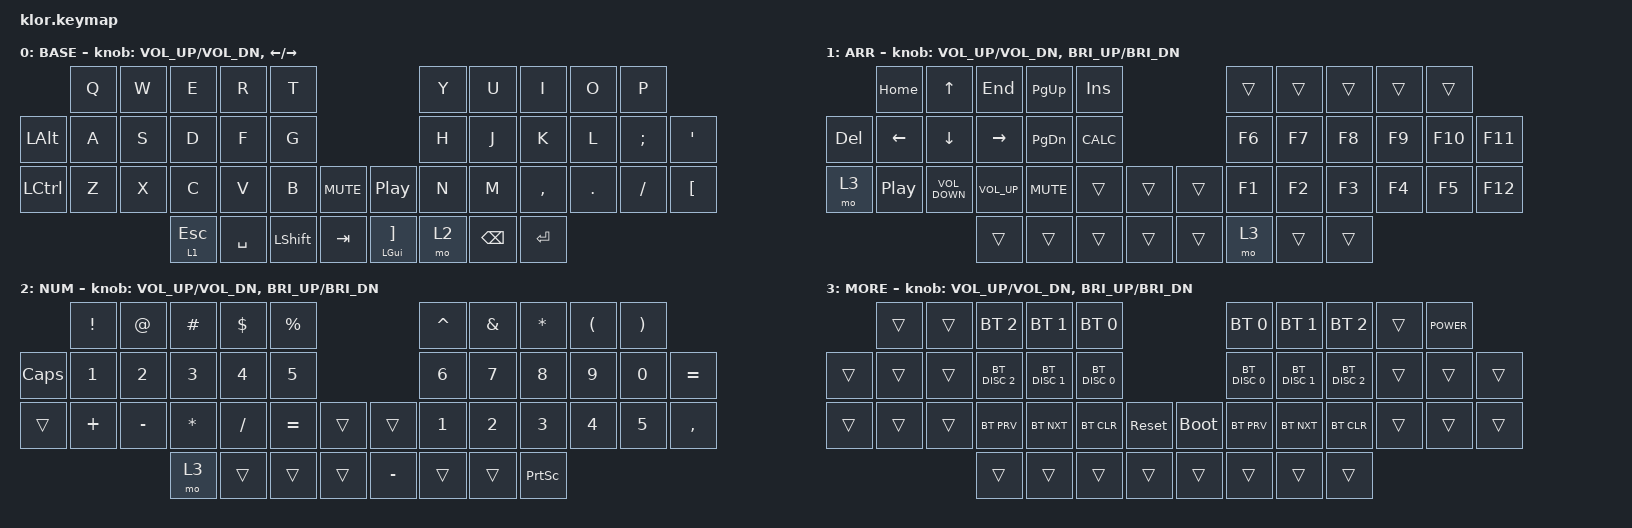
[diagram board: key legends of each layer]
#include <behaviors.dtsi>
#include <dt-bindings/zmk/bt.h>
#include <dt-bindings/zmk/keys.h>

&lt { quick-tap-ms = <0>; };

&mt { tapping-term-ms = <200>; };

// keep it high until you're familiar with keyboard to avoid misclicks
// later lower it to <= 200
// DO NOT MAKE LAYER LABELS LARGER

/ {
    combos {
        compatible = "zmk,combos";

        ctrl_alt_del {
            bindings = <&ctrl_alt_del>;
            key-positions = <2 3 4>;
        };

        play_pause {
            bindings = <&kp C_PLAY_PAUSE>;
            key-positions = <24 25>;
        };
    };

    macros {
        ctrl_alt_del: ctrl_alt_del {
            compatible = "zmk,behavior-macro";
            #binding-cells = <0>;
            bindings = <&kp LCTRL &kp LEFT_ALT &kp DEL>;
            label = "CTRL_ALT_DEL";
            wait-ms = <0>;
            tap-ms = <5>;
        };
    };

    keymap {
        compatible = "zmk,keymap";

        // ▄▄▄▄▄▄▄▄▄▄▄▄▄▄▄▄▄▄▄▄▄▄▄▄▄▄▄▄▄▄▄▄▄▄▄▄▄▄▄▄▄▄▄▄▄▄▄▄▄▄▄▄▄▄▄▄▄▄▄▄▄▄▄▄▄▄▄▄▄▄▄▄▄▄▄▄▄▄▄▄▄▄▄▄▄▄▄▄▄▄▄▄▄▄▄▄▄▄▄▄▄▄▄▄▄▄▄▄▄▄▄▄▄▄▄▄▄▄▄▄▄▄▄▄▄▄▄▄▄▄▄▄▄▄▄▄▄▄▄▄▄▄

        LA0 {
            // ┌───────────────────────────────────────────────────────────┐

            display-name = "BASE";

            // └───────────────────────────────────────────────────────────┘
            /*           ┌─────────┬─────────┬─────────┬─────────┬─────────┐                    ┌─────────┬─────────┬─────────┬─────────┬─────────┐
             │    Q    │    W    │    E    │    R    │    T    │                    │    Y    │    U    │    I    │    O    │    P    │   
   ┌─────────┼─────────┼─────────┼─────────┼─────────┼─────────┤                    ├─────────┼─────────┼─────────┼─────────┼─────────┼─────────┐
   │   TAB   │    A    │    S    │    D    │    F    │    G    │                    │    H    │    J    │    K    │    L    │    ;    │    "    │
   ├─────────┼─────────┼─────────┼─────────┼─────────┼─────────┤╭────────╮╭────────╮├─────────┼─────────┼─────────┼─────────┼─────────┼─────────┤
   │   DEL   │    Z    │    X    │    C    │    V    │    B    ││  MUTE  ││PLY/PSE ││    N    │    M    │    ,    │    .    │    /    │    \    │
   └─────────┴─────────┴─────────┼─────────┼─────────┼─────────┼╰────────╯╰────────╯┼─────────┼─────────┼─────────┼─────────┴─────────┴─────────┘
                                 │  CTRL   │  ALT    │  LOWER  │   SPACE ││ CMD/WIN │  ENTER  │  RAISE  │  BSPCE  │  
                                 └─────────┴─────────┴─────────┴─────────┘└─────────┴─────────┴─────────┴─────────┘ */

            bindings = <
              &kp Q  &kp W  &kp E      &kp R      &kp T                                         &kp Y  &kp U          &kp I      &kp O    &kp P
&kp LEFT_ALT  &kp A  &kp S  &kp D      &kp F      &kp G                                         &kp H  &kp J          &kp K      &kp L    &kp SEMI   &kp SQT
&kp LCTRL     &kp Z  &kp X  &kp C      &kp V      &kp B           &kp C_MUTE  &kp C_PLAY_PAUSE  &kp N  &kp M          &kp COMMA  &kp DOT  &kp SLASH  &kp LBKT
                            &lt 1 ESC  &kp SPACE  &kp LEFT_SHIFT  &kp TAB     &mt LGUI RBKT     &mo 2  &kp BACKSPACE  &kp ENTER
            >;

            sensor-bindings = <&inc_dec_kp C_VOL_UP C_VOL_DN &inc_dec_kp LEFT RIGHT>;
        };

        // ▄▄▄▄▄▄▄▄▄▄▄▄▄▄▄▄▄▄▄▄▄▄▄▄▄▄▄▄▄▄▄▄▄▄▄▄▄▄▄▄▄▄▄▄▄▄▄▄▄▄▄▄▄▄▄▄▄▄▄▄▄▄▄▄▄▄▄▄▄▄▄▄▄▄▄▄▄▄▄▄▄▄▄▄▄▄▄▄▄▄▄▄▄▄▄▄▄▄▄▄▄▄▄▄▄▄▄▄▄▄▄▄▄▄▄▄▄▄▄▄▄▄▄▄▄▄▄▄▄▄▄▄▄▄▄▄▄▄▄▄▄▄ 

        LA1 {
            display-name = "ARR";

            // ┌───────────────────────────────────────────────────────────┐

            label = "ARR";

            // └───────────────────────────────────────────────────────────┘
            /*           ┌─────────┬─────────┬─────────┬─────────┬─────────┐                    ┌─────────┬─────────┬─────────┬─────────┬─────────┐
             │    _    │    -    │    +    │    =    │    :    │                    │    `    │         │   PG_UP │  PG_DN  │         │
   ┌─────────┼─────────┼─────────┼─────────┼─────────┼─────────┤                    ├─────────┼─────────┼─────────┼─────────┼─────────┼─────────┐
   │         │         │         │         │         │         │                    │         │         │         │         │         │         │
   ├─────────┼─────────┼─────────┼─────────┼─────────┼─────────┤╭────────╮╭────────╮├─────────┼─────────┼─────────┼─────────┼─────────┼─────────┤
   │         │         │         │         │         │         ││        ││        ││    ~    │         │         │         │         │         │
   └─────────┴─────────┴─────────┼─────────┼─────────┼─────────┼╰────────╯╰────────╯┼─────────┼─────────┼─────────┼─────────┴─────────┴─────────┘
                                 │         │         │         │         ││         │         │         │         │  
                                 └─────────┴─────────┴─────────┴─────────┘└─────────┴─────────┴─────────┴─────────┘ */

            bindings = <
         &kp HOME          &kp UP             &kp END          &kp PAGE_UP    &kp INSERT                  &trans  &trans  &trans  &trans  &trans
&kp DEL  &kp LEFT          &kp DOWN           &kp RIGHT        &kp PAGE_DOWN  &kp K_CALC                  &kp F6  &kp F7  &kp F8  &kp F9  &kp F10  &kp F11
&mo 3    &kp C_PLAY_PAUSE  &kp C_VOLUME_DOWN  &kp C_VOLUME_UP  &kp C_MUTE     &trans      &trans  &trans  &kp F1  &kp F2  &kp F3  &kp F4  &kp F5   &kp F12
                                              &trans           &trans         &trans      &trans  &trans  &mo 3   &trans  &trans
            >;

            sensor-bindings = <&inc_dec_kp C_VOL_UP C_VOL_DN &inc_dec_kp C_BRI_UP C_BRI_DN>;
        };

        LA2 {
            display-name = "NUM";

            // ┌───────────────────────────────────────────────────────────┐

            label = "NUM";

            // └───────────────────────────────────────────────────────────┘
            /*           ┌─────────┬─────────┬─────────┬─────────┬─────────┐                    ┌─────────┬─────────┬─────────┬─────────┬─────────┐
             │   !     │         │         │         │    %    │                    │    ^    │         │         │         │         │
   ┌─────────┼─────────┼─────────┼─────────┼─────────┼─────────┤                    ├─────────┼─────────┼─────────┼─────────┼─────────┼─────────┐
   │         │   1     │         │         │         │    5    │                    │    6    │         │         │         │    0    │         │
   ├─────────┼─────────┼─────────┼─────────┼─────────┼─────────┤╭────────╮╭────────╮├─────────┼─────────┼─────────┼─────────┼─────────┼─────────┤
   │         │         │ ESC     │         │         │  FUNCTI ││        ││        ││         │         │         │         │         │         │
   └─────────┴─────────┴─────────┼─────────┼─────────┼─────────┼╰────────╯╰────────╯┼─────────┼─────────┼─────────┼─────────┴─────────┴─────────┘
                                 │         │         │         │         ││         │         │         │         │  
                                 └─────────┴─────────┴─────────┴─────────┘└─────────┴─────────┴─────────┴─────────┘ */

            bindings = <
          &kp EXCL  &kp AT     &kp HASH  &kp DLLR   &kp PRCNT                     &kp CARET  &kp AMPS  &kp STAR         &kp LPAR  &kp RPAR
&kp CLCK  &kp N1    &kp N2     &kp N3    &kp N4     &kp N5                        &kp N6     &kp N7    &kp N8           &kp N9    &kp N0    &kp EQUAL
&trans    &kp PLUS  &kp MINUS  &kp STAR  &kp SLASH  &kp EQUAL  &trans  &trans     &kp N1     &kp N2    &kp N3           &kp N4    &kp N5    &kp COMMA
                               &mo 3     &trans     &trans     &trans  &kp MINUS  &trans     &trans    &kp PRINTSCREEN
            >;

            sensor-bindings = <&inc_dec_kp C_VOL_UP C_VOL_DN &inc_dec_kp C_BRI_UP C_BRI_DN>;
        };

        LA3 {
            display-name = "MORE";
            bindings = <
        &trans  &trans  &bt BT_SEL 2   &bt BT_SEL 1   &bt BT_SEL 0                            &bt BT_SEL 0   &bt BT_SEL 1   &bt BT_SEL 2   &trans  &kp C_POWER
&trans  &trans  &trans  &bt BT_DISC 2  &bt BT_DISC 1  &bt BT_DISC 0                           &bt BT_DISC 0  &bt BT_DISC 1  &bt BT_DISC 2  &trans  &trans       &trans
&trans  &trans  &trans  &bt BT_PRV     &bt BT_NXT     &bt BT_CLR     &sys_reset  &bootloader  &bt BT_PRV     &bt BT_NXT     &bt BT_CLR     &trans  &trans       &trans
                        &trans         &trans         &trans         &trans      &trans       &trans         &trans         &trans
            >;

            sensor-bindings = <&inc_dec_kp C_VOL_UP C_VOL_DN &inc_dec_kp C_BRI_UP C_BRI_DN>;
            label = "MORE";
        };
    };
};
